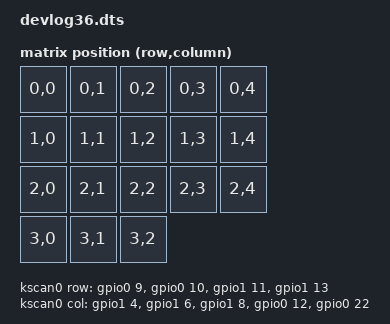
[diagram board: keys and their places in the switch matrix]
#include <dt-bindings/zmk/matrix_transform.h>

/ {
    chosen {
        zmk,kscan = &kscan0;
        zmk,matrix_transform = &default_transform;
    };

    default_transform: keymap_transform_0 {
        compatible = "zmk,matrix-transform";
        rows = <4>;    // 3 основных + 1 доп
        columns = <5>; // максимум 5 колонок

        // ЛЕВАЯ половина (4x5, но последний ряд - только 3 клавиши)
        map = <
            RC(0,0) RC(0,1) RC(0,2) RC(0,3) RC(0,4)
            RC(1,0) RC(1,1) RC(1,2) RC(1,3) RC(1,4)
            RC(2,0) RC(2,1) RC(2,2) RC(2,3) RC(2,4)
            RC(3,0) RC(3,1) RC(3,2)          // последний ряд (3 клавиши)
        >;
    };

    kscan0: kscan {
        compatible = "zmk,kscan-gpio-matrix";
        diode-direction = "col2row";

        // Настройки GPIO для nice!nano (пример)
        row-gpios = <
            &gpio0 9  GPIO_ACTIVE_HIGH  // ROW0 (P0.09)
            &gpio0 10 GPIO_ACTIVE_HIGH  // ROW1 (P0.10)
            &gpio1 11 GPIO_ACTIVE_HIGH  // ROW2 (P1.11)
            &gpio1 13 GPIO_ACTIVE_HIGH  // ROW3 (P1.13)
        >;
        col-gpios = <
            &gpio1  4 GPIO_ACTIVE_HIGH  // COL0 (P1.04)
            &gpio1  6 GPIO_ACTIVE_HIGH  // COL1 (P1.06)
            &gpio1  8 GPIO_ACTIVE_HIGH  // COL2 (P1.08)
            &gpio0 12 GPIO_ACTIVE_HIGH  // COL3 (P0.12)
            &gpio0 22 GPIO_ACTIVE_HIGH  // COL4 (P0.22)
        >;
    };
};
